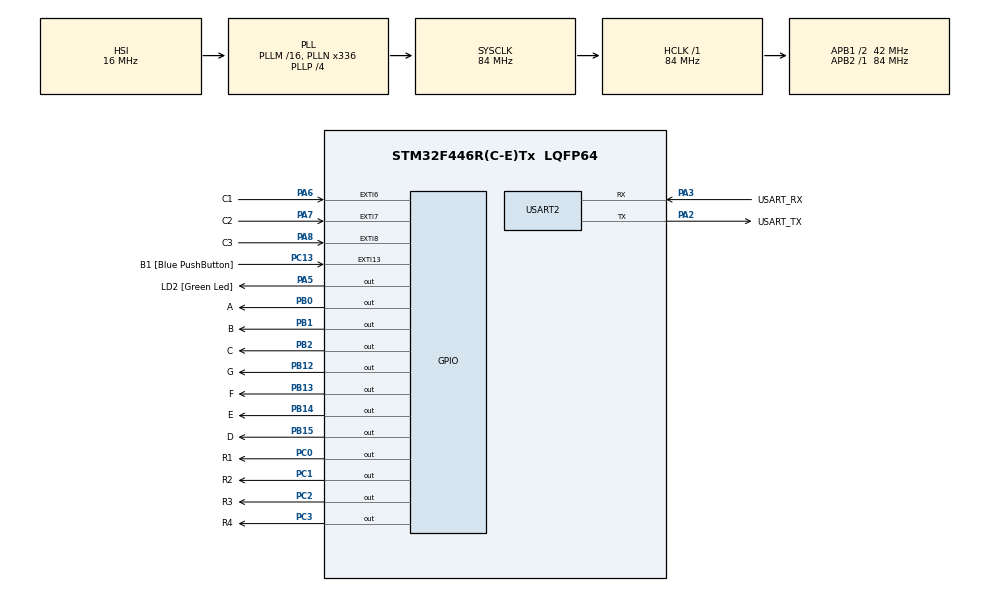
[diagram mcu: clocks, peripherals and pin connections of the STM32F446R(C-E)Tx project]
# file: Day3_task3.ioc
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Mcu.Family=STM32F4
Mcu.Name=STM32F446R(C-E)Tx
Mcu.Package=LQFP64
NVIC.EXTI9_5_IRQn=true\:0\:0\:false\:false\:true\:true\:true\:true
NVIC.PriorityGroup=NVIC_PRIORITYGROUP_0
PA13.GPIO_Label=TMS
PA13.Mode=Serial_Wire
PA13.Signal=SYS_JTMS-SWDIO
PA14.GPIO_Label=TCK
PA14.Mode=Serial_Wire
PA14.Signal=SYS_JTCK-SWCLK
PA2.GPIO_Label=USART_TX
PA2.Mode=Asynchronous
PA2.Signal=USART2_TX
PA3.GPIO_Label=USART_RX
PA3.Mode=Asynchronous
PA3.Signal=USART2_RX
PA5.GPIO_Label=LD2 [Green Led]
PA5.Signal=GPIO_Output
PA6.GPIO_Label=C1
PA6.GPIO_ModeDefaultEXTI=GPIO_MODE_IT_FALLING
PA6.GPIO_PuPd=GPIO_PULLUP
PA6.Signal=GPXTI6
PA7.GPIO_Label=C2
PA7.GPIO_ModeDefaultEXTI=GPIO_MODE_IT_FALLING
PA7.GPIO_PuPd=GPIO_PULLUP
PA7.Signal=GPXTI7
PA8.GPIO_Label=C3
PA8.GPIO_ModeDefaultEXTI=GPIO_MODE_IT_FALLING
PA8.GPIO_PuPd=GPIO_PULLUP
PA8.Signal=GPXTI8
PB0.GPIO_Label=A
PB0.Signal=GPIO_Output
PB1.GPIO_Label=B
PB1.Signal=GPIO_Output
PB12.GPIO_Label=G
PB12.Signal=GPIO_Output
PB13.GPIO_Label=F
PB13.Signal=GPIO_Output
PB14.GPIO_Label=E
PB14.Signal=GPIO_Output
PB15.GPIO_Label=D
PB15.Signal=GPIO_Output
PB2.GPIO_Label=C
PB2.Signal=GPIO_Output
PB3.GPIO_Label=SWO
PB3.Signal=SYS_JTDO-SWO
PC0.GPIO_Label=R1
PC0.Signal=GPIO_Output
PC1.GPIO_Label=R2
PC1.Signal=GPIO_Output
PC13.GPIO_Label=B1 [Blue PushButton]
PC13.GPIO_ModeDefaultEXTI=GPIO_MODE_IT_FALLING
PC13.Signal=GPXTI13
PC14-OSC32_IN.Mode=LSE-External-Oscillator
PC14-OSC32_IN.Signal=RCC_OSC32_IN
PC15-OSC32_OUT.Mode=LSE-External-Oscillator
PC15-OSC32_OUT.Signal=RCC_OSC32_OUT
PC2.GPIO_Label=R3
PC2.Signal=GPIO_Output
PC3.GPIO_Label=R4
PC3.Signal=GPIO_Output
PH0-OSC_IN.Mode=HSE-External-Oscillator
PH0-OSC_IN.Signal=RCC_OSC_IN
PH1-OSC_OUT.Mode=HSE-External-Oscillator
PH1-OSC_OUT.Signal=RCC_OSC_OUT
ProjectManager.HeapSize=0x200
ProjectManager.StackSize=0x400
ProjectManager.TargetToolchain=STM32CubeIDE
RCC.48MHZClocksFreq_Value=84000000
RCC.AHBFreq_Value=84000000
RCC.APB1CLKDivider=RCC_HCLK_DIV2
RCC.APB1Freq_Value=42000000
RCC.APB1TimFreq_Value=84000000
RCC.APB2Freq_Value=84000000
RCC.APB2TimFreq_Value=84000000
RCC.CortexFreq_Value=84000000
RCC.FLatency-AdvancedSettings=FLASH_LATENCY_2
RCC.HCLKFreq_Value=84000000
RCC.HSE_VALUE=8000000
RCC.HSI_VALUE=16000000
RCC.PLLN=336
RCC.PLLP=RCC_PLLP_DIV4
RCC.SYSCLKFreq_VALUE=84000000
RCC.SYSCLKSource=RCC_SYSCLKSOURCE_PLLCLK
RCC.USBFreq_Value=168000000
RCC.VCOOutputFreq_Value=336000000
USART2.VirtualMode=VM_ASYNC
board=NUCLEO-F446RE

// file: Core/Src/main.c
/* USER CODE BEGIN Header */
/**
  ******************************************************************************
  * @file           : main.c
  * @brief          : Main program body
  ******************************************************************************
  * @attention
  *
  * Copyright (c) 2024 STMicroelectronics.
  * All rights reserved.
  *
  * This software is licensed under terms that can be found in the LICENSE file
  * in the root directory of this software component.
  * If no LICENSE file comes with this software, it is provided AS-IS.
  *
  ******************************************************************************
  */
/* USER CODE END Header */
#include "main.h"
#include "stdio.h"

UART_HandleTypeDef huart2;

/* USER CODE BEGIN PV */
char keypad[4][3] = {
    {'1', '2', '3'},
    {'4', '5', '6'},
    {'7', '8', '9'},
    {'*', '0', '#'}
};

char pressed_key = 0;
/* USER CODE END PV */

void SystemClock_Config(void);
static void MX_GPIO_Init(void);
static void MX_USART2_UART_Init(void);

/* USER CODE BEGIN 0 */
int _write(int file, char *ptr, int len)
{
  (void)file;
  int DataIdx;

  for (DataIdx = 0; DataIdx < len; DataIdx++)
  {
    ITM_SendChar(*ptr++);
  }
  return len;
}
/* USER CODE END 0 */

int main(void)
{

  /* MCU Configuration--------------------------------------------------------*/

  /* Reset of all peripherals, Initializes the Flash interface and the Systick. */
  HAL_Init();

  /* Configure the system clock */
  SystemClock_Config();

  /* Initialize all configured peripherals */
  MX_GPIO_Init();
  MX_USART2_UART_Init();

  /* Infinite loop */
  while (1)
  {

  }
}

void SystemClock_Config(void)
{
  RCC_OscInitTypeDef RCC_OscInitStruct = {0};
  RCC_ClkInitTypeDef RCC_ClkInitStruct = {0};

  /** Configure the main internal regulator output voltage
  */
  __HAL_RCC_PWR_CLK_ENABLE();
  __HAL_PWR_VOLTAGESCALING_CONFIG(PWR_REGULATOR_VOLTAGE_SCALE3);

  /** Initializes the RCC Oscillators according to the specified parameters
  * in the RCC_OscInitTypeDef structure.
  */
  RCC_OscInitStruct.OscillatorType = RCC_OSCILLATORTYPE_HSI;
  RCC_OscInitStruct.HSIState = RCC_HSI_ON;
  RCC_OscInitStruct.HSICalibrationValue = RCC_HSICALIBRATION_DEFAULT;
  RCC_OscInitStruct.PLL.PLLState = RCC_PLL_ON;
  RCC_OscInitStruct.PLL.PLLSource = RCC_PLLSOURCE_HSI;
  RCC_OscInitStruct.PLL.PLLM = 16;
  RCC_OscInitStruct.PLL.PLLN = 336;
  RCC_OscInitStruct.PLL.PLLP = RCC_PLLP_DIV4;
  RCC_OscInitStruct.PLL.PLLQ = 2;
  RCC_OscInitStruct.PLL.PLLR = 2;
  if (HAL_RCC_OscConfig(&RCC_OscInitStruct) != HAL_OK)
  {
    Error_Handler();
  }

  /** Initializes the CPU, AHB and APB buses clocks
  */
  RCC_ClkInitStruct.ClockType = RCC_CLOCKTYPE_HCLK|RCC_CLOCKTYPE_SYSCLK
                              |RCC_CLOCKTYPE_PCLK1|RCC_CLOCKTYPE_PCLK2;
  RCC_ClkInitStruct.SYSCLKSource = RCC_SYSCLKSOURCE_PLLCLK;
  RCC_ClkInitStruct.AHBCLKDivider = RCC_SYSCLK_DIV1;
  RCC_ClkInitStruct.APB1CLKDivider = RCC_HCLK_DIV2;
  RCC_ClkInitStruct.APB2CLKDivider = RCC_HCLK_DIV1;

  if (HAL_RCC_ClockConfig(&RCC_ClkInitStruct, FLASH_LATENCY_2) != HAL_OK)
  {
    Error_Handler();
  }
}

static void MX_USART2_UART_Init(void)
{

  huart2.Instance = USART2;
  huart2.Init.BaudRate = 115200;
  huart2.Init.WordLength = UART_WORDLENGTH_8B;
  huart2.Init.StopBits = UART_STOPBITS_1;
  huart2.Init.Parity = UART_PARITY_NONE;
  huart2.Init.Mode = UART_MODE_TX_RX;
  huart2.Init.HwFlowCtl = UART_HWCONTROL_NONE;
  huart2.Init.OverSampling = UART_OVERSAMPLING_16;
  if (HAL_UART_Init(&huart2) != HAL_OK)
  {
    Error_Handler();
  }

}

static void MX_GPIO_Init(void)
{
  GPIO_InitTypeDef GPIO_InitStruct = {0};

  /* GPIO Ports Clock Enable */
  __HAL_RCC_GPIOC_CLK_ENABLE();
  __HAL_RCC_GPIOH_CLK_ENABLE();
  __HAL_RCC_GPIOA_CLK_ENABLE();
  __HAL_RCC_GPIOB_CLK_ENABLE();

  /*Configure GPIO pin Output Level */
  HAL_GPIO_WritePin(GPIOC, R1_Pin|R2_Pin|R3_Pin|R4_Pin, GPIO_PIN_RESET);

  /*Configure GPIO pin Output Level */
  HAL_GPIO_WritePin(LD2_GPIO_Port, LD2_Pin, GPIO_PIN_RESET);

  /*Configure GPIO pin Output Level */
  HAL_GPIO_WritePin(GPIOB, A_Pin|B_Pin|C_Pin|G_Pin
                          |F_Pin|E_Pin|D_Pin, GPIO_PIN_RESET);

  /*Configure GPIO pin : B1_Pin */
  GPIO_InitStruct.Pin = B1_Pin;
  GPIO_InitStruct.Mode = GPIO_MODE_IT_FALLING;
  GPIO_InitStruct.Pull = GPIO_NOPULL;
  HAL_GPIO_Init(B1_GPIO_Port, &GPIO_InitStruct);

  /*Configure GPIO pins : R1_Pin R2_Pin R3_Pin R4_Pin */
  GPIO_InitStruct.Pin = R1_Pin|R2_Pin|R3_Pin|R4_Pin;
  GPIO_InitStruct.Mode = GPIO_MODE_OUTPUT_PP;
  GPIO_InitStruct.Pull = GPIO_NOPULL;
  GPIO_InitStruct.Speed = GPIO_SPEED_FREQ_LOW;
  HAL_GPIO_Init(GPIOC, &GPIO_InitStruct);

  /*Configure GPIO pin : LD2_Pin */
  GPIO_InitStruct.Pin = LD2_Pin;
  GPIO_InitStruct.Mode = GPIO_MODE_OUTPUT_PP;
  GPIO_InitStruct.Pull = GPIO_NOPULL;
  GPIO_InitStruct.Speed = GPIO_SPEED_FREQ_LOW;
  HAL_GPIO_Init(LD2_GPIO_Port, &GPIO_InitStruct);

  /*Configure GPIO pins : C1_Pin C2_Pin C3_Pin */
  GPIO_InitStruct.Pin = C1_Pin|C2_Pin|C3_Pin;
  GPIO_InitStruct.Mode = GPIO_MODE_IT_FALLING;
  GPIO_InitStruct.Pull = GPIO_PULLUP;
  HAL_GPIO_Init(GPIOA, &GPIO_InitStruct);

  /*Configure GPIO pins : A_Pin B_Pin C_Pin G_Pin
                           F_Pin E_Pin D_Pin */
  GPIO_InitStruct.Pin = A_Pin|B_Pin|C_Pin|G_Pin
                          |F_Pin|E_Pin|D_Pin;
  GPIO_InitStruct.Mode = GPIO_MODE_OUTPUT_PP;
  GPIO_InitStruct.Pull = GPIO_NOPULL;
  GPIO_InitStruct.Speed = GPIO_SPEED_FREQ_LOW;
  HAL_GPIO_Init(GPIOB, &GPIO_InitStruct);

  /* EXTI interrupt init*/
  HAL_NVIC_SetPriority(EXTI9_5_IRQn, 0, 0);
  HAL_NVIC_EnableIRQ(EXTI9_5_IRQn);

}

/* USER CODE BEGIN 4 */
void scan_keypad(void)
{
    // Set all row pins high initially
    HAL_GPIO_WritePin(GPIOC, R1_Pin | R2_Pin | R3_Pin | R4_Pin, GPIO_PIN_SET);

    // Scan each row
    for (int row = 0; row < 4; row++)
    {
        // Set the current row pin to low
        HAL_GPIO_WritePin(GPIOC, (R1_Pin << row), GPIO_PIN_RESET);

        //printf("Scanning Row: %d\n", row);  // Debug print to indicate current row being scanned

        // Check each column
        for (int col = 0; col < 3; col++)
        {
            int pinState = HAL_GPIO_ReadPin(GPIOA, (C1_Pin << col));  // Read pin state for debugging

            // Debug print to show the pin state of each column
           // printf("Checking Column: %d, Pin State: %d\n", col, pinState);

            if (pinState == GPIO_PIN_RESET)
            {
                // Key is pressed in this row and column
                pressed_key = keypad[row][col];
                display_number(pressed_key); // Display the key number
                printf("Pressed Key: %c\n", pressed_key);
                printf("Detected at Row: %d, Column: %d\n", row, col);

                // Restore the row pin to high
                HAL_GPIO_WritePin(GPIOC, (R1_Pin << row), GPIO_PIN_SET);

                return; // Exit as soon as a pressed key is found
            }
        }

        // Restore the row pin to high
        HAL_GPIO_WritePin(GPIOC, (R1_Pin << row), GPIO_PIN_SET);

    }
}

void display_number(char key) {
    uint8_t number = key - '0'; // Convert char to integer
    switch (number) {
        case 0:
            HAL_GPIO_WritePin(GPIOB, A_Pin, GPIO_PIN_RESET);
            HAL_GPIO_WritePin(GPIOB, B_Pin, GPIO_PIN_RESET);
            HAL_GPIO_WritePin(GPIOB, C_Pin, GPIO_PIN_RESET);
            HAL_GPIO_WritePin(GPIOB, D_Pin, GPIO_PIN_RESET);
            HAL_GPIO_WritePin(GPIOB, E_Pin, GPIO_PIN_RESET);
            HAL_GPIO_WritePin(GPIOB, F_Pin, GPIO_PIN_RESET);
            HAL_GPIO_WritePin(GPIOB, G_Pin, GPIO_PIN_SET);
            break;
        case 1:
            HAL_GPIO_WritePin(GPIOB, A_Pin, GPIO_PIN_SET);
            HAL_GPIO_WritePin(GPIOB, B_Pin, GPIO_PIN_RESET);
            HAL_GPIO_WritePin(GPIOB, C_Pin, GPIO_PIN_RESET);
            HAL_GPIO_WritePin(GPIOB, D_Pin, GPIO_PIN_SET);
            HAL_GPIO_WritePin(GPIOB, E_Pin, GPIO_PIN_SET);
            HAL_GPIO_WritePin(GPIOB, F_Pin, GPIO_PIN_SET);
            HAL_GPIO_WritePin(GPIOB, G_Pin, GPIO_PIN_SET);
            break;
        case 2:
            HAL_GPIO_WritePin(GPIOB, A_Pin, GPIO_PIN_RESET);
            HAL_GPIO_WritePin(GPIOB, B_Pin, GPIO_PIN_RESET);
            HAL_GPIO_WritePin(GPIOB, C_Pin, GPIO_PIN_SET);
            HAL_GPIO_WritePin(GPIOB, D_Pin, GPIO_PIN_RESET);
            HAL_GPIO_WritePin(GPIOB, E_Pin, GPIO_PIN_RESET);
            HAL_GPIO_WritePin(GPIOB, F_Pin, GPIO_PIN_SET);
            HAL_GPIO_WritePin(GPIOB, G_Pin, GPIO_PIN_RESET);
            break;
        case 3:
            HAL_GPIO_WritePin(GPIOB, A_Pin, GPIO_PIN_RESET);
            HAL_GPIO_WritePin(GPIOB, B_Pin, GPIO_PIN_RESET);
            HAL_GPIO_WritePin(GPIOB, C_Pin, GPIO_PIN_RESET);
            HAL_GPIO_WritePin(GPIOB, D_Pin, GPIO_PIN_RESET);
            HAL_GPIO_WritePin(GPIOB, E_Pin, GPIO_PIN_SET);
            HAL_GPIO_WritePin(GPIOB, F_Pin, GPIO_PIN_SET);
            HAL_GPIO_WritePin(GPIOB, G_Pin, GPIO_PIN_RESET);
            break;
        case 4:
            HAL_GPIO_WritePin(GPIOB, A_Pin, GPIO_PIN_SET);
            HAL_GPIO_WritePin(GPIOB, B_Pin, GPIO_PIN_RESET);
            HAL_GPIO_WritePin(GPIOB, C_Pin, GPIO_PIN_RESET);
            HAL_GPIO_WritePin(GPIOB, D_Pin, GPIO_PIN_SET);
            HAL_GPIO_WritePin(GPIOB, E_Pin, GPIO_PIN_SET);
            HAL_GPIO_WritePin(GPIOB, F_Pin, GPIO_PIN_RESET);
            HAL_GPIO_WritePin(GPIOB, G_Pin, GPIO_PIN_RESET);
            break;
        case 5:
            HAL_GPIO_WritePin(GPIOB, A_Pin, GPIO_PIN_RESET);
            HAL_GPIO_WritePin(GPIOB, B_Pin, GPIO_PIN_SET);
            HAL_GPIO_WritePin(GPIOB, C_Pin, GPIO_PIN_RESET);
            HAL_GPIO_WritePin(GPIOB, D_Pin, GPIO_PIN_RESET);
            HAL_GPIO_WritePin(GPIOB, E_Pin, GPIO_PIN_SET);
            HAL_GPIO_WritePin(GPIOB, F_Pin, GPIO_PIN_RESET);
            HAL_GPIO_WritePin(GPIOB, G_Pin, GPIO_PIN_RESET);
            break;
        case 6:
            HAL_GPIO_WritePin(GPIOB, A_Pin, GPIO_PIN_RESET);
            HAL_GPIO_WritePin(GPIOB, B_Pin, GPIO_PIN_SET);
            HAL_GPIO_WritePin(GPIOB, C_Pin, GPIO_PIN_RESET);
            HAL_GPIO_WritePin(GPIOB, D_Pin, GPIO_PIN_RESET);
            HAL_GPIO_WritePin(GPIOB, E_Pin, GPIO_PIN_RESET);
            HAL_GPIO_WritePin(GPIOB, F_Pin, GPIO_PIN_RESET);
            HAL_GPIO_WritePin(GPIOB, G_Pin, GPIO_PIN_RESET);
            break;
        case 7:
            HAL_GPIO_WritePin(GPIOB, A_Pin, GPIO_PIN_RESET);
            HAL_GPIO_WritePin(GPIOB, B_Pin, GPIO_PIN_RESET);
            HAL_GPIO_WritePin(GPIOB, C_Pin, GPIO_PIN_RESET);
            HAL_GPIO_WritePin(GPIOB, D_Pin, GPIO_PIN_SET);
            HAL_GPIO_WritePin(GPIOB, E_Pin, GPIO_PIN_SET);
            HAL_GPIO_WritePin(GPIOB, F_Pin, GPIO_PIN_SET);
            HAL_GPIO_WritePin(GPIOB, G_Pin, GPIO_PIN_SET);
            break;
        case 8:
            HAL_GPIO_WritePin(GPIOB, A_Pin, GPIO_PIN_RESET);
            HAL_GPIO_WritePin(GPIOB, B_Pin, GPIO_PIN_RESET);
            HAL_GPIO_WritePin(GPIOB, C_Pin, GPIO_PIN_RESET);
            HAL_GPIO_WritePin(GPIOB, D_Pin, GPIO_PIN_RESET);
            HAL_GPIO_WritePin(GPIOB, E_Pin, GPIO_PIN_RESET);
            HAL_GPIO_WritePin(GPIOB, F_Pin, GPIO_PIN_RESET);
            HAL_GPIO_WritePin(GPIOB, G_Pin, GPIO_PIN_RESET);
            break;
        case 9:
            HAL_GPIO_WritePin(GPIOB, A_Pin, GPIO_PIN_RESET);
            HAL_GPIO_WritePin(GPIOB, B_Pin, GPIO_PIN_RESET);
            HAL_GPIO_WritePin(GPIOB, C_Pin, GPIO_PIN_RESET);
            HAL_GPIO_WritePin(GPIOB, D_Pin, GPIO_PIN_RESET);
            HAL_GPIO_WritePin(GPIOB, E_Pin, GPIO_PIN_SET);
            HAL_GPIO_WritePin(GPIOB, F_Pin, GPIO_PIN_RESET);
            HAL_GPIO_WritePin(GPIOB, G_Pin, GPIO_PIN_RESET);
            break;
        default:
            // If key is not a valid digit, turn off all segments
            HAL_GPIO_WritePin(GPIOB, A_Pin | B_Pin | C_Pin | D_Pin | E_Pin | F_Pin | G_Pin, GPIO_PIN_SET);
            break;
    }
}

void HAL_GPIO_EXTI_Callback(uint16_t GPIO_Pin)
{
    if (GPIO_Pin == C1_Pin || GPIO_Pin == C2_Pin || GPIO_Pin == C3_Pin)
    {
        scan_keypad();
    }
}
/* USER CODE END 4 */

void Error_Handler(void)
{
  __disable_irq();
  while (1)
  {
  }
}
